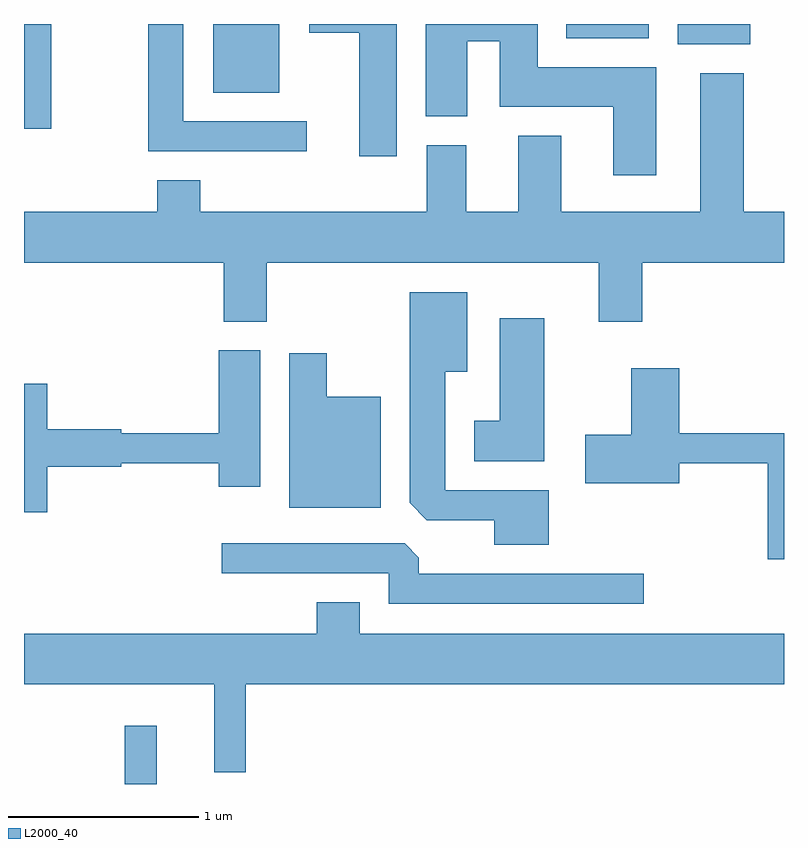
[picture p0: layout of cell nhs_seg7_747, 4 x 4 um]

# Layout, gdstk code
import gdstk
lib = gdstk.Library(unit=1e-6, precision=1e-09)
def R(c, l, rs):  # rectangles x0, y0, x1, y1
    for r in rs: c.add(gdstk.rectangle(r[:2], r[2:], *l))
def P(c, l, *ps):  # polygons
    for p in ps: c.add(gdstk.Polygon(p, *l))
L2000_40 = (2000, 40)

nhs_seg7_747 = lib.new_cell('nhs_seg7_747')
R(nhs_seg7_747, L2000_40, [(208.141,1698.252,208.309,1698.558), (207.611,1701.701,207.754,1702.252), (208.606,1701.891,208.954,1702.252), (211.051,1702.146,211.434,1702.252), (210.466,1702.176,210.899,1702.252)])
P(nhs_seg7_747, L2000_40, [(210.939,1702.024),(210.314,1702.024),(210.314,1702.252),(209.726,1702.252),(209.726,1701.766),(209.944,1701.766),(209.944,1702.161),(210.116,1702.161),(210.116,1701.816),(210.711,1701.816),(210.711,1701.456),(210.939,1701.456)],
  [(209.098,1701.739),(208.449,1701.739),(208.449,1702.252),(208.266,1702.252),(208.266,1701.581),(209.098,1701.581)],
  [(209.574,1702.252),(209.111,1702.252),(209.111,1702.206),(209.376,1702.206),(209.376,1701.556),(209.574,1701.556)],
  [(208.539,1701.429),(208.311,1701.429),(208.311,1701.264),(207.611,1701.264),(207.611,1700.996),(208.661,1700.996),(208.661,1700.686),(208.889,1700.686),(208.889,1700.996),(210.636,1700.996),(210.636,1700.686),(210.864,1700.686),(210.864,1700.996),(211.611,1700.996),(211.611,1701.264),(211.399,1701.264),(211.399,1701.994),(211.171,1701.994),(211.171,1701.264),(210.439,1701.264),(210.439,1701.664),(210.211,1701.664),(210.211,1701.264),(209.939,1701.264),(209.939,1701.614),(209.731,1701.614),(209.731,1701.264),(208.539,1701.264)],
  [(210.374,1699.799),(209.829,1699.799),(209.829,1700.421),(209.944,1700.421),(209.944,1700.839),(209.641,1700.839),(209.641,1699.732),(209.732,1699.641),(210.086,1699.641),(210.086,1699.511),(210.374,1699.511)],
  [(210.349,1700.704),(210.116,1700.704),(210.116,1700.164),(209.981,1700.164),(209.981,1699.951),(210.349,1699.951)],
  [(207.734,1699.921),(208.124,1699.921),(208.124,1699.941),(208.636,1699.941),(208.636,1699.816),(208.854,1699.816),(208.854,1700.534),(208.636,1700.534),(208.636,1700.099),(208.124,1700.099),(208.124,1700.119),(207.734,1700.119),(207.734,1700.359),(207.611,1700.359),(207.611,1699.681),(207.734,1699.681)],
  [(209.489,1700.289),(209.204,1700.289),(209.204,1700.519),(209.006,1700.519),(209.006,1699.706),(209.489,1699.706)],
  [(211.611,1700.099),(211.059,1700.099),(211.059,1700.439),(210.806,1700.439),(210.806,1700.089),(210.566,1700.089),(210.566,1699.836),(211.059,1699.836),(211.059,1699.941),(211.526,1699.941),(211.526,1699.436),(211.611,1699.436)],
  [(210.873,1699.359),(209.689,1699.359),(209.689,1699.444),(209.614,1699.519),(208.653,1699.519),(208.653,1699.361),(209.531,1699.361),(209.531,1699.201),(210.873,1699.201)],
  [(208.779,1698.776),(211.611,1698.776),(211.611,1699.044),(209.379,1699.044),(209.379,1699.209),(209.151,1699.209),(209.151,1699.044),(207.611,1699.044),(207.611,1698.776),(208.611,1698.776),(208.611,1698.313),(208.779,1698.313)])

lib.write_gds('nhs_seg7_747.gds')
